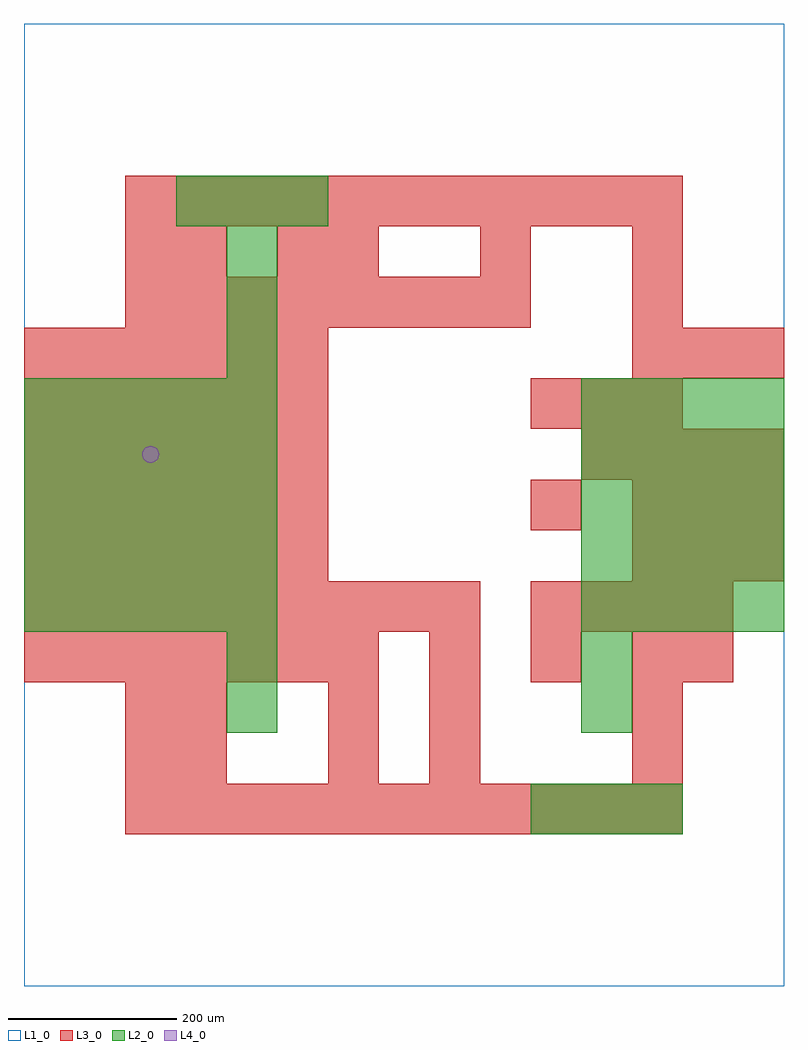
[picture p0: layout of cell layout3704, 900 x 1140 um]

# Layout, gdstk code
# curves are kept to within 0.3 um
import gdstk
lib = gdstk.Library(unit=1e-6, precision=1e-09)
def R(c, l, rs):  # rectangles x0, y0, x1, y1
    for r in rs: c.add(gdstk.rectangle(r[:2], r[2:], *l))
def A(c, l, x, y, w, h, nx, ny, dx, dy):  # array of equal rectangles
    R(c, l, [(x+i*dx, y+j*dy, x+i*dx+w, y+j*dy+h) for i in range(nx) for j in range(ny)])
def P(c, l, *ps):  # polygons
    for p in ps: c.add(gdstk.Polygon(p, *l))
L1_0 = (1, 0)
L2_0 = (2, 0)
L3_0 = (3, 0)
L4_0 = (4, 0)

layout3704 = lib.new_cell('layout3704')
R(layout3704, L1_0, [(0,0,900,1140)])
A(layout3704, L2_0, 600, 180, 60, 60, 3, 1, 60, 0)
A(layout3704, L2_0, 0, 420, 60, 60, 5, 5, 60, 60)
A(layout3704, L2_0, 660, 420, 60, 60, 4, 5, 60, 60)
A(layout3704, L2_0, 240, 720, 60, 60, 1, 3, 0, 60)
A(layout3704, L2_0, 180, 900, 60, 60, 3, 1, 60, 0)
R(layout3704, L2_0, [(240,300,300,360), (660,300,720,360), (240,360,300,420), (660,360,720,420)])
A(layout3704, L3_0, 120, 180, 60, 60, 11, 2, 60, 720)
A(layout3704, L3_0, 0, 360, 60, 60, 7, 1, 60, 0)
A(layout3704, L3_0, 480, 360, 60, 60, 3, 1, 120, 0)
A(layout3704, L3_0, 0, 420, 60, 60, 9, 1, 60, 0)
A(layout3704, L3_0, 600, 420, 60, 60, 4, 1, 60, 0)
A(layout3704, L3_0, 0, 480, 60, 60, 6, 5, 60, 60)
A(layout3704, L3_0, 720, 480, 60, 60, 3, 2, 60, 60)
A(layout3704, L3_0, 660, 600, 60, 60, 4, 1, 60, 0)
A(layout3704, L3_0, 600, 660, 60, 60, 3, 1, 60, 0)
A(layout3704, L3_0, 720, 720, 60, 60, 3, 1, 60, 0)
A(layout3704, L3_0, 120, 780, 60, 60, 8, 1, 60, 0)
A(layout3704, L3_0, 360, 840, 60, 60, 3, 1, 180, 0)
R(layout3704, L3_0, [(120,240,180,300), (180,240,240,300), (360,240,420,300), (480,240,540,300), (720,240,780,300), (120,300,180,360), (180,300,240,360), (360,300,420,360), (480,300,540,360), (720,300,780,360), (780,360,840,420), (600,540,660,600), (720,780,780,840), (120,840,180,900), (180,840,240,900), (300,840,360,900)])
P(layout3704, L4_0, [(160,630),(159.239,633.827),(157.071,637.071),(153.827,639.239),(150,640),(146.173,639.239),(142.929,637.071),(140.761,633.827),(140,630),(140.761,626.173),(142.929,622.929),(146.173,620.761),(150,620),(153.827,620.761),(157.071,622.929),(159.239,626.173)])

lib.write_gds('layout3704.gds')
